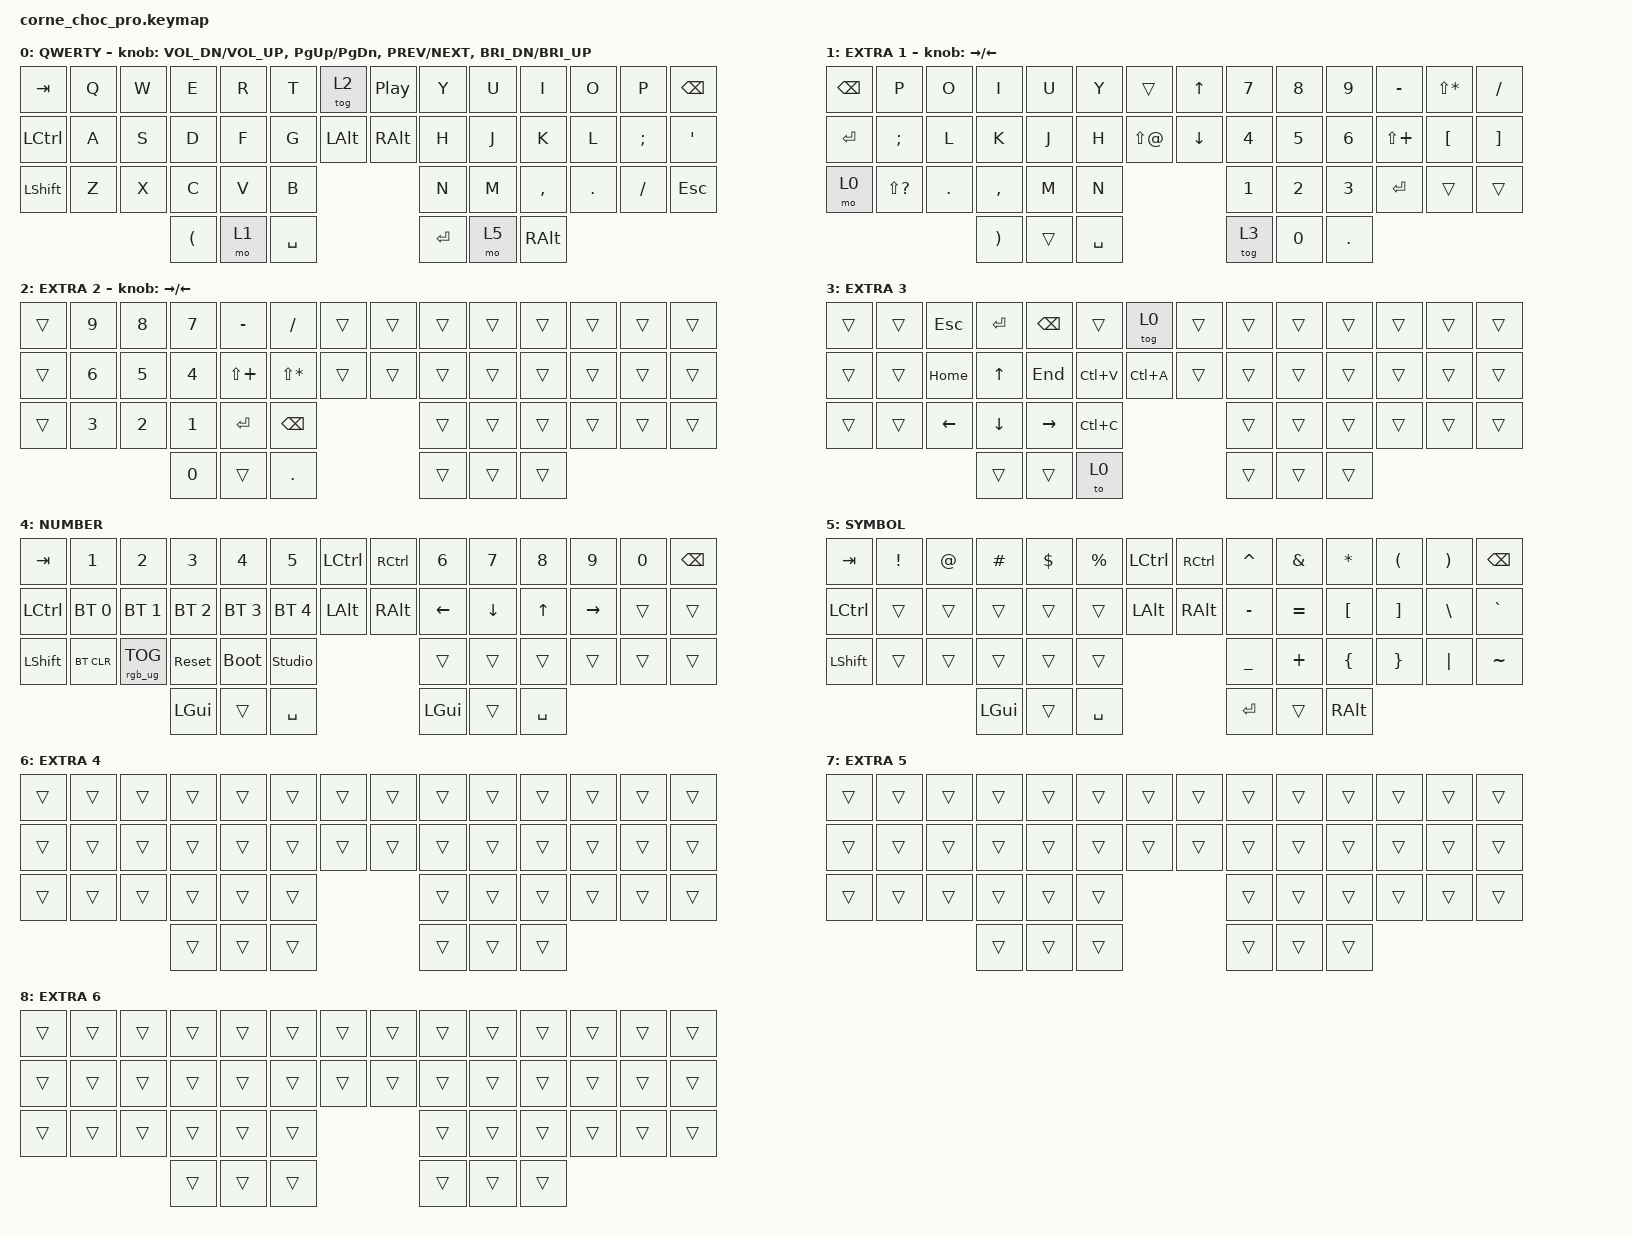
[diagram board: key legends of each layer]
/*
 * Copyright (c) 2020 The ZMK Contributors
 *
 * SPDX-License-Identifier: MIT
 */

#include <behaviors.dtsi>
#include <dt-bindings/zmk/bt.h>
#include <dt-bindings/zmk/keys.h>
#include <dt-bindings/zmk/rgb.h>

/ {
    chosen { zmk,physical-layout = &default_layout; };
};

/ {
    keymap {
        compatible = "zmk,keymap";

        default_layer {
            display-name = "QWERTY";

            // --------------------------------------------------------------------------------
            // |  TAB |  Q  |  W  |  E  |  R  |  T  |  MUTE |  PP   |  Y  |  U   |  I  |  O  |  P  | BSPC |
            // | CTRL |  A  |  S  |  D  |  F  |  G  |  LALT |  RALT |  H  |  J   |  K  |  L  |  ;  |  '   |
            // | SHFT |  Z  |  X  |  C  |  V  |  B  |               |  N  |  M   |  ,  |  .  |  /  | ESC  |
            //                    | GUI | LWR | SPC |               | ENT | RSE  | ALT |

            bindings = <
&kp TAB    &kp Q  &kp W  &kp E                 &kp R  &kp T      &tog 2    &kp C_PP  &kp Y    &kp U  &kp I      &kp O    &kp P     &kp BSPC
&kp LCTRL  &kp A  &kp S  &kp D                 &kp F  &kp G      &kp LALT  &kp RALT  &kp H    &kp J  &kp K      &kp L    &kp SEMI  &kp SQT
&kp LSHFT  &kp Z  &kp X  &kp C                 &kp V  &kp B                          &kp N    &kp M  &kp COMMA  &kp DOT  &kp FSLH  &kp ESC
                         &kp LEFT_PARENTHESIS  &mo 1  &kp SPACE                      &kp RET  &mo 5  &kp RALT
            >;

            sensor-bindings = <&inc_dec_kp C_VOL_DN C_VOL_UP &inc_dec_kp PG_UP PG_DN &inc_dec_kp C_PREV C_NEXT &inc_dec_kp C_BRI_DN C_BRI_UP>;
        };

        right_on_left {
            display-name = "EXTRA 1";
            bindings = <
&kp BSPC  &kp P          &kp O    &kp I                  &kp U   &kp Y      &trans      &kp UP    &kp N7  &kp N8  &kp N9   &kp MINUS     &kp LS(STAR)  &kp FSLH
&kp RET   &kp SEMI       &kp L    &kp K                  &kp J   &kp H      &kp LS(AT)  &kp DOWN  &kp N4  &kp N5  &kp N6   &kp LS(PLUS)  &kp LBKT      &kp RBKT
&mo 0     &kp LS(QMARK)  &kp DOT  &kp COMMA              &kp M   &kp N                            &kp N1  &kp N2  &kp N3   &kp RET       &trans        &trans
                                  &kp RIGHT_PARENTHESIS  &trans  &kp SPACE                        &tog 3  &kp N0  &kp DOT
            >;

            sensor-bindings = <&inc_dec_kp RIGHT LEFT>;
        };

        num_on_left {
            display-name = "EXTRA 2";
            bindings = <
&trans  &kp N9  &kp N8  &kp N7  &kp MINUS     &kp FSLH      &trans  &trans  &trans  &trans  &trans  &trans  &trans  &trans
&trans  &kp N6  &kp N5  &kp N4  &kp LS(PLUS)  &kp LS(STAR)  &trans  &trans  &trans  &trans  &trans  &trans  &trans  &trans
&trans  &kp N3  &kp N2  &kp N1  &kp RET       &kp BSPC                      &trans  &trans  &trans  &trans  &trans  &trans
                        &kp N0  &trans        &kp PERIOD                    &trans  &trans  &trans
            >;

            sensor-bindings = <&inc_dec_kp RIGHT_ARROW LEFT>;
        };

        directional {
            display-name = "EXTRA 3";
            bindings = <
&trans  &trans  &kp ESCAPE  &kp ENTER  &kp BACKSPACE  &trans     &tog 0     &trans  &trans  &trans  &trans  &trans  &trans  &trans
&trans  &trans  &kp HOME    &kp UP     &kp END        &kp LC(V)  &kp LC(A)  &trans  &trans  &trans  &trans  &trans  &trans  &trans
&trans  &trans  &kp LEFT    &kp DOWN   &kp RIGHT      &kp LC(C)                     &trans  &trans  &trans  &trans  &trans  &trans
                            &trans     &trans         &to 0                         &trans  &trans  &trans
            >;
        };

        lower_layer {
            display-name = "NUMBER";

            // -----------------------------------------------------------------------------------------
            // |  TAB |  1  |  2  |  3  |  4  |  5    |  LCTRL | RCTRL |  6  |  7  |  8  |  9  |  0  | BSPC |
            // | CTRL | BT1 | BT2 | BT3 | BT4 | BT5   |  LALT  | RALT  | LFT | DWN |  UP | RGT |     |      |
            // | SHFT | BTCR| RGB | RST | BOOT| Unlock|        |       |     |     |     |     |     |      |
            //                    | GUI |     | SPC   |        | ENT   |     | ALT |

            bindings = <
&kp TAB    &kp N1        &kp N2           &kp N3        &kp N4        &kp N5          &kp LCTRL  &kp RCTRL  &kp N6    &kp N7    &kp N8     &kp N9     &kp N0  &kp BSPC
&kp LCTRL  &bt BT_SEL 0  &bt BT_SEL 1     &bt BT_SEL 2  &bt BT_SEL 3  &bt BT_SEL 4    &kp LALT   &kp RALT   &kp LEFT  &kp DOWN  &kp UP     &kp RIGHT  &trans  &trans
&kp LSHFT  &bt BT_CLR    &rgb_ug RGB_TOG  &sys_reset    &bootloader   &studio_unlock                        &trans    &trans    &trans     &trans     &trans  &trans
                                          &kp LGUI      &trans        &kp SPACE                             &kp LGUI  &trans    &kp SPACE
            >;
        };

        raise_layer {
            display-name = "SYMBOL";

            // -----------------------------------------------------------------------------------------
            // |  TAB |  !  |  @  |  #  |  $  |  %  | LCTRL | RCTRL |  ^  |  &  |  *  |  (  |  )  | BSPC |
            // | CTRL |     |     |     |     |     |  LALT | RALT  |  -  |  =  |  [  |  ]  |  \  |  `   |
            // | SHFT |     |     |     |     |     |               |  _  |  +  |  {  |  }  | "|" |  ~   |
            //                    | GUI |     | SPC |               | ENT |     | ALT |

            bindings = <
&kp TAB    &kp EXCL  &kp AT  &kp HASH  &kp DLLR  &kp PRCNT  &kp LCTRL  &kp RCTRL  &kp CARET  &kp AMPS   &kp ASTRK  &kp LPAR  &kp RPAR  &kp BSPC
&kp LCTRL  &trans    &trans  &trans    &trans    &trans     &kp LALT   &kp RALT   &kp MINUS  &kp EQUAL  &kp LBKT   &kp RBKT  &kp BSLH  &kp GRAVE
&kp LSHFT  &trans    &trans  &trans    &trans    &trans                           &kp UNDER  &kp PLUS   &kp LBRC   &kp RBRC  &kp PIPE  &kp TILDE
                             &kp LGUI  &trans    &kp SPACE                        &kp RET    &trans     &kp RALT
            >;
        };

        extra_layer_4 {
            display-name = "EXTRA 4";
            bindings = <
&trans  &trans  &trans  &trans  &trans  &trans  &trans  &trans  &trans  &trans  &trans  &trans  &trans  &trans
&trans  &trans  &trans  &trans  &trans  &trans  &trans  &trans  &trans  &trans  &trans  &trans  &trans  &trans
&trans  &trans  &trans  &trans  &trans  &trans                  &trans  &trans  &trans  &trans  &trans  &trans
                        &trans  &trans  &trans                  &trans  &trans  &trans
            >;
        };

        extra_layer_5 {
            display-name = "EXTRA 5";
            bindings = <
&trans  &trans  &trans  &trans  &trans  &trans  &trans  &trans  &trans  &trans  &trans  &trans  &trans  &trans
&trans  &trans  &trans  &trans  &trans  &trans  &trans  &trans  &trans  &trans  &trans  &trans  &trans  &trans
&trans  &trans  &trans  &trans  &trans  &trans                  &trans  &trans  &trans  &trans  &trans  &trans
                        &trans  &trans  &trans                  &trans  &trans  &trans
            >;
        };

        extra_layer_6 {
            display-name = "EXTRA 6";
            bindings = <
&trans  &trans  &trans  &trans  &trans  &trans  &trans  &trans  &trans  &trans  &trans  &trans  &trans  &trans
&trans  &trans  &trans  &trans  &trans  &trans  &trans  &trans  &trans  &trans  &trans  &trans  &trans  &trans
&trans  &trans  &trans  &trans  &trans  &trans                  &trans  &trans  &trans  &trans  &trans  &trans
                        &trans  &trans  &trans                  &trans  &trans  &trans
            >;
        };
    };
};
